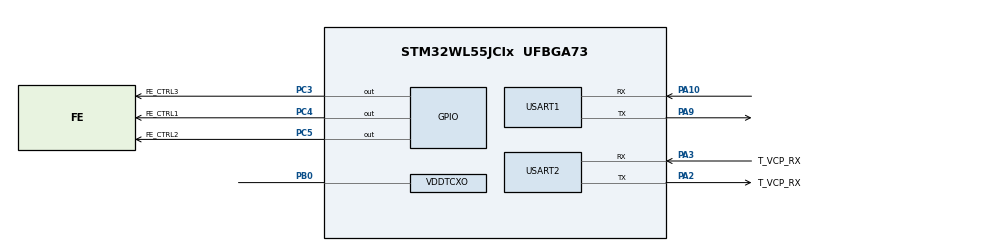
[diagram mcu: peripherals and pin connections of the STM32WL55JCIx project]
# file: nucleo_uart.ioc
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Mcu.Family=STM32WL
Mcu.Name=STM32WL55JCIx
Mcu.Package=UFBGA73
NVIC.PriorityGroup=NVIC_PRIORITYGROUP_4
NVIC.USART1_IRQn=true\:0\:0\:false\:false\:true\:true\:true\:true
NVIC.USART2_IRQn=true\:0\:0\:false\:false\:true\:true\:true\:true
OSC_IN.Mode=HSE-TCXO
OSC_IN.Signal=RCC_OSC_IN
PA10.Mode=Asynchronous
PA10.Signal=USART1_RX
PA2.GPIO_Label=T_VCP_RX
PA2.Mode=Asynchronous
PA2.Signal=USART2_TX
PA3.GPIO_Label=T_VCP_RX
PA3.Mode=Asynchronous
PA3.Signal=USART2_RX
PA9.Mode=Asynchronous
PA9.Signal=USART1_TX
PB0-VDD_TCXO.Mode=HSE-TCXO
PB0-VDD_TCXO.Signal=VDDTCXO
PC14-OSC32_IN.GPIO_Label=RCC_OSC32_IN
PC14-OSC32_IN.Signal=RCC_OSC32_IN
PC15-OSC32_OUT.GPIO_Label=RCC_OSC32_OUT
PC15-OSC32_OUT.Signal=RCC_OSC32_OUT
PC3.GPIO_Label=FE_CTRL3
PC3.GPIO_Speed=GPIO_SPEED_FREQ_VERY_HIGH
PC3.Signal=GPIO_Output
PC4.GPIO_Label=FE_CTRL1
PC4.GPIO_Speed=GPIO_SPEED_FREQ_VERY_HIGH
PC4.Signal=GPIO_Output
PC5.GPIO_Label=FE_CTRL2
PC5.GPIO_Speed=GPIO_SPEED_FREQ_VERY_HIGH
PC5.Signal=GPIO_Output
ProjectManager.HeapSize=0x200
ProjectManager.StackSize=0x400
ProjectManager.TargetToolchain=STM32CubeIDE
RCC.AHBFreq_Value=12000000
RCC.APB1Freq_Value=12000000
RCC.APB1TimFreq_Value=12000000
RCC.APB2Freq_Value=12000000
RCC.APB2TimFreq_Value=12000000
RCC.APB3Freq_Value=12000000
RCC.CortexFreq_Value=12000000
RCC.HCLKFreq_Value=12000000
RCC.HSE_VALUE=32000000
RCC.HSI_VALUE=16000000
RCC.LSE_VALUE=32768
RCC.PLLN=24
RCC.PLLR=RCC_PLLR_DIV8
RCC.SYSCLKFreq_VALUE=12000000
RCC.SYSCLKSource=RCC_SYSCLKSOURCE_PLLCLK
RCC.VCOOutputFreq_Value=96000000
USART1.VirtualMode-Asynchronous=VM_ASYNC
USART2.VirtualMode-Asynchronous=VM_ASYNC
board=NUCLEO-WL55JC2

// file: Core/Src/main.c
/* USER CODE BEGIN Header */
/**
 ******************************************************************************
 * @file           : main.c
 * @brief          : Main program body
 ******************************************************************************
 * @attention
 *
 * Copyright (c) 2026 STMicroelectronics.
 * All rights reserved.
 *
 * This software is licensed under terms that can be found in the LICENSE file
 * in the root directory of this software component.
 * If no LICENSE file comes with this software, it is provided AS-IS.
 *
 ******************************************************************************
 */
/* USER CODE END Header */
#include "main.h"

/* USER CODE BEGIN Includes */
#include "uart_app.h"
#include <stdio.h>
#include <string.h>
#include <stdarg.h>
/* USER CODE END Includes */

UART_HandleTypeDef huart1;
UART_HandleTypeDef huart2;

/* USER CODE BEGIN PV */
int hsFLAG = 0;
/* USER CODE END PV */

void SystemClock_Config(void);
static void MX_GPIO_Init(void);
static void MX_USART1_UART_Init(void);
static void MX_USART2_UART_Init(void);
/* USER CODE BEGIN PFP */
void myDebug(const char *fmt, ...);
int bufferSize(char *buffer);
/* USER CODE END PFP */

int main(void) {

	/* MCU Configuration--------------------------------------------------------*/

	/* Reset of all peripherals, Initializes the Flash interface and the Systick. */
	HAL_Init();

	/* Configure the system clock */
	SystemClock_Config();

	/* Initialize all configured peripherals */
	MX_GPIO_Init();
	MX_USART1_UART_Init();
	MX_USART2_UART_Init();
	/* USER CODE BEGIN 2 */
	myDebug("Handshake starting....\r\n");

//	UartApp_Handshake_IT_Start();

	while (hsFLAG == 0) {
		// Old code
		// UartApp_Handshake();
		new_hs_operation();
	}

	myDebug("Proceed to main Loop\r\n");
	/* USER CODE END 2 */

	/* Infinite loop */
	while (1) {

		/* USER CODE BEGIN 3 */

		HAL_Delay(3000);

		if (hsFLAG == 1) {
			myDebug("HS successful\r\n");
		} else {
			myDebug("HS failed\r\n");
		}

	}
	/* USER CODE END 3 */
}

void SystemClock_Config(void) {
	RCC_OscInitTypeDef RCC_OscInitStruct = { 0 };
	RCC_ClkInitTypeDef RCC_ClkInitStruct = { 0 };

	/** Configure the main internal regulator output voltage
	 */
	__HAL_PWR_VOLTAGESCALING_CONFIG(PWR_REGULATOR_VOLTAGE_SCALE1);

	/** Initializes the CPU, AHB and APB buses clocks
	 */
	RCC_OscInitStruct.OscillatorType = RCC_OSCILLATORTYPE_MSI;
	RCC_OscInitStruct.MSIState = RCC_MSI_ON;
	RCC_OscInitStruct.MSICalibrationValue = RCC_MSICALIBRATION_DEFAULT;
	RCC_OscInitStruct.MSIClockRange = RCC_MSIRANGE_6;
	RCC_OscInitStruct.PLL.PLLState = RCC_PLL_ON;
	RCC_OscInitStruct.PLL.PLLSource = RCC_PLLSOURCE_MSI;
	RCC_OscInitStruct.PLL.PLLM = RCC_PLLM_DIV1;
	RCC_OscInitStruct.PLL.PLLN = 24;
	RCC_OscInitStruct.PLL.PLLP = RCC_PLLP_DIV2;
	RCC_OscInitStruct.PLL.PLLR = RCC_PLLR_DIV8;
	RCC_OscInitStruct.PLL.PLLQ = RCC_PLLQ_DIV2;
	if (HAL_RCC_OscConfig(&RCC_OscInitStruct) != HAL_OK) {
		Error_Handler();
	}

	/** Configure the SYSCLKSource, HCLK, PCLK1 and PCLK2 clocks dividers
	 */
	RCC_ClkInitStruct.ClockType = RCC_CLOCKTYPE_HCLK3 | RCC_CLOCKTYPE_HCLK
			| RCC_CLOCKTYPE_SYSCLK | RCC_CLOCKTYPE_PCLK1 | RCC_CLOCKTYPE_PCLK2;
	RCC_ClkInitStruct.SYSCLKSource = RCC_SYSCLKSOURCE_PLLCLK;
	RCC_ClkInitStruct.AHBCLKDivider = RCC_SYSCLK_DIV1;
	RCC_ClkInitStruct.APB1CLKDivider = RCC_HCLK_DIV1;
	RCC_ClkInitStruct.APB2CLKDivider = RCC_HCLK_DIV1;
	RCC_ClkInitStruct.AHBCLK3Divider = RCC_SYSCLK_DIV1;

	if (HAL_RCC_ClockConfig(&RCC_ClkInitStruct, FLASH_LATENCY_0) != HAL_OK) {
		Error_Handler();
	}
}

static void MX_USART1_UART_Init(void) {

	huart1.Instance = USART1;
	huart1.Init.BaudRate = 115200;
	huart1.Init.WordLength = UART_WORDLENGTH_8B;
	huart1.Init.StopBits = UART_STOPBITS_1;
	huart1.Init.Parity = UART_PARITY_NONE;
	huart1.Init.Mode = UART_MODE_TX_RX;
	huart1.Init.HwFlowCtl = UART_HWCONTROL_NONE;
	huart1.Init.OverSampling = UART_OVERSAMPLING_16;
	huart1.Init.OneBitSampling = UART_ONE_BIT_SAMPLE_DISABLE;
	huart1.Init.ClockPrescaler = UART_PRESCALER_DIV1;
	huart1.AdvancedInit.AdvFeatureInit = UART_ADVFEATURE_NO_INIT;
	if (HAL_UART_Init(&huart1) != HAL_OK) {
		Error_Handler();
	}
	if (HAL_UARTEx_SetTxFifoThreshold(&huart1, UART_TXFIFO_THRESHOLD_1_8)
			!= HAL_OK) {
		Error_Handler();
	}
	if (HAL_UARTEx_SetRxFifoThreshold(&huart1, UART_RXFIFO_THRESHOLD_1_8)
			!= HAL_OK) {
		Error_Handler();
	}
	if (HAL_UARTEx_DisableFifoMode(&huart1) != HAL_OK) {
		Error_Handler();
	}

}

static void MX_USART2_UART_Init(void) {

	huart2.Instance = USART2;
	huart2.Init.BaudRate = 115200;
	huart2.Init.WordLength = UART_WORDLENGTH_8B;
	huart2.Init.StopBits = UART_STOPBITS_1;
	huart2.Init.Parity = UART_PARITY_NONE;
	huart2.Init.Mode = UART_MODE_TX_RX;
	huart2.Init.HwFlowCtl = UART_HWCONTROL_NONE;
	huart2.Init.OverSampling = UART_OVERSAMPLING_16;
	huart2.Init.OneBitSampling = UART_ONE_BIT_SAMPLE_DISABLE;
	huart2.Init.ClockPrescaler = UART_PRESCALER_DIV1;
	huart2.AdvancedInit.AdvFeatureInit = UART_ADVFEATURE_NO_INIT;
	if (HAL_UART_Init(&huart2) != HAL_OK) {
		Error_Handler();
	}
	if (HAL_UARTEx_SetTxFifoThreshold(&huart2, UART_TXFIFO_THRESHOLD_1_8)
			!= HAL_OK) {
		Error_Handler();
	}
	if (HAL_UARTEx_SetRxFifoThreshold(&huart2, UART_RXFIFO_THRESHOLD_1_8)
			!= HAL_OK) {
		Error_Handler();
	}
	if (HAL_UARTEx_DisableFifoMode(&huart2) != HAL_OK) {
		Error_Handler();
	}

}

static void MX_GPIO_Init(void) {
	GPIO_InitTypeDef GPIO_InitStruct = { 0 };

	/* GPIO Ports Clock Enable */
	__HAL_RCC_GPIOC_CLK_ENABLE();
	__HAL_RCC_GPIOA_CLK_ENABLE();
	__HAL_RCC_GPIOB_CLK_ENABLE();

	/*Configure GPIO pin Output Level */
	HAL_GPIO_WritePin(GPIOC, FE_CTRL3_Pin | FE_CTRL2_Pin | FE_CTRL1_Pin,
			GPIO_PIN_RESET);

	/*Configure GPIO pins : FE_CTRL3_Pin FE_CTRL2_Pin FE_CTRL1_Pin */
	GPIO_InitStruct.Pin = FE_CTRL3_Pin | FE_CTRL2_Pin | FE_CTRL1_Pin;
	GPIO_InitStruct.Mode = GPIO_MODE_OUTPUT_PP;
	GPIO_InitStruct.Pull = GPIO_NOPULL;
	GPIO_InitStruct.Speed = GPIO_SPEED_FREQ_VERY_HIGH;
	HAL_GPIO_Init(GPIOC, &GPIO_InitStruct);

}

/* USER CODE BEGIN 4 */
void myDebug(const char *fmt, ...) {
	static char temp[100];
	va_list args;
	va_start(args, fmt);
	vsnprintf(temp, sizeof(temp), fmt, args);
	va_end(args);
	int len = bufferSize(temp);
	HAL_UART_Transmit(&huart2, (uint8_t*) temp, len, 1000);
}

int bufferSize(char *buffer) {
	int i = 0;
	while (*buffer++ != '\0')
		i++;
	return i;
}
/* USER CODE END 4 */

void Error_Handler(void) {
	__disable_irq();
	while (1) {
	}
}
